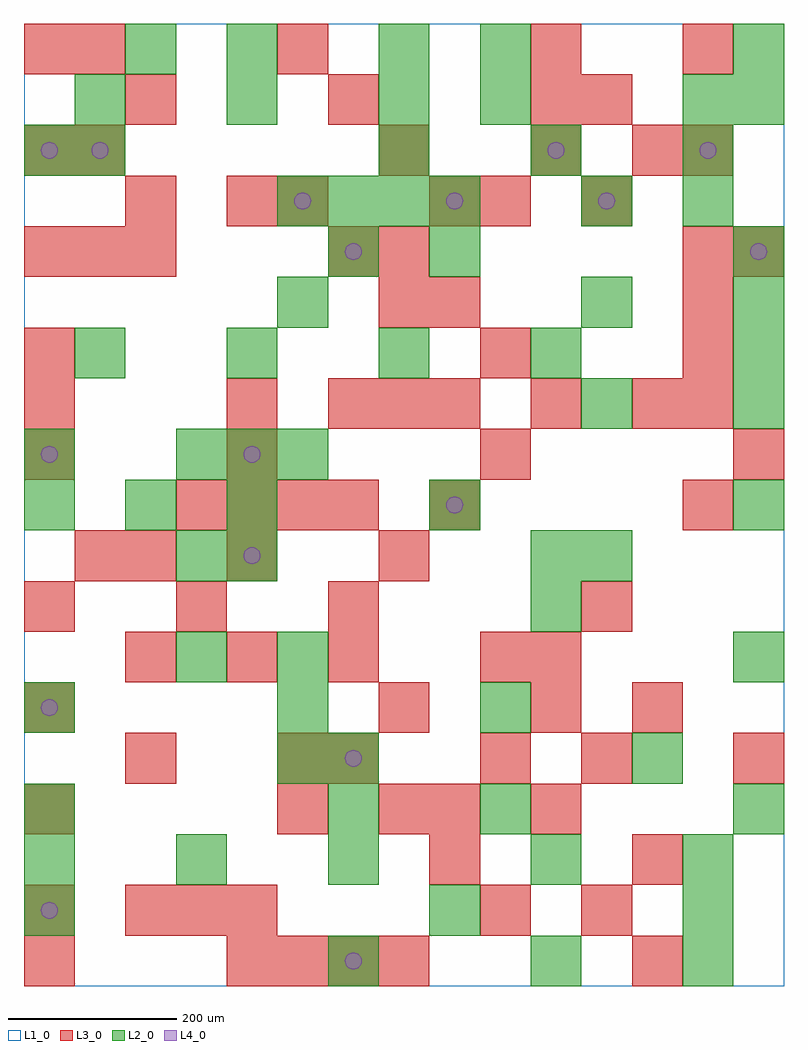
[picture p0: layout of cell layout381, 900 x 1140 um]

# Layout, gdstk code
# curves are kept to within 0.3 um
import gdstk
lib = gdstk.Library(unit=1e-6, precision=1e-09)
def R(c, l, rs):  # rectangles x0, y0, x1, y1
    for r in rs: c.add(gdstk.rectangle(r[:2], r[2:], *l))
def A(c, l, x, y, w, h, nx, ny, dx, dy):  # array of equal rectangles
    R(c, l, [(x+i*dx, y+j*dy, x+i*dx+w, y+j*dy+h) for i in range(nx) for j in range(ny)])
def P(c, l, *ps):  # polygons
    for p in ps: c.add(gdstk.Polygon(p, *l))
L1_0 = (1, 0)
L2_0 = (2, 0)
L3_0 = (3, 0)
L4_0 = (4, 0)

layout381 = lib.new_cell('layout381')
R(layout381, L1_0, [(0,0,900,1140)])
A(layout381, L2_0, 780, 0, 60, 60, 1, 3, 0, 60)
A(layout381, L2_0, 0, 60, 60, 60, 1, 3, 0, 120)
A(layout381, L2_0, 0, 120, 60, 60, 3, 1, 180, 0)
A(layout381, L2_0, 840, 180, 60, 60, 1, 3, 0, 180)
A(layout381, L2_0, 300, 240, 60, 60, 1, 3, 0, 60)
A(layout381, L2_0, 0, 540, 60, 60, 3, 1, 120, 0)
A(layout381, L2_0, 180, 600, 60, 60, 3, 1, 60, 0)
A(layout381, L2_0, 660, 660, 60, 60, 1, 3, 0, 120)
A(layout381, L2_0, 840, 660, 60, 60, 1, 4, 0, 60)
A(layout381, L2_0, 60, 720, 60, 60, 4, 1, 180, 0)
A(layout381, L2_0, 300, 900, 60, 60, 4, 1, 60, 0)
A(layout381, L2_0, 420, 960, 60, 60, 3, 1, 180, 0)
A(layout381, L2_0, 60, 1020, 60, 60, 3, 1, 180, 0)
R(layout381, L2_0, [(360,0,420,60), (600,0,660,60), (480,60,540,120), (600,120,660,180), (360,180,420,240), (540,180,600,240), (360,240,420,300), (720,240,780,300), (540,300,600,360), (180,360,240,420), (600,420,660,480), (180,480,240,540), (240,480,300,540), (600,480,660,540), (660,480,720,540), (480,540,540,600), (0,600,60,660), (300,780,360,840), (360,840,420,900), (480,840,540,900), (780,900,840,960), (0,960,60,1020), (60,960,120,1020), (540,1020,600,1080), (780,1020,840,1080), (840,1020,900,1080), (120,1080,180,1140), (240,1080,300,1140), (420,1080,480,1140), (540,1080,600,1140), (840,1080,900,1140)])
A(layout381, L3_0, 240, 0, 60, 60, 4, 1, 60, 0)
A(layout381, L3_0, 0, 60, 60, 60, 1, 3, 0, 120)
A(layout381, L3_0, 120, 60, 60, 60, 3, 1, 60, 0)
A(layout381, L3_0, 660, 60, 60, 60, 1, 3, 0, 180)
A(layout381, L3_0, 120, 360, 60, 60, 3, 1, 120, 0)
A(layout381, L3_0, 600, 360, 60, 60, 1, 3, 0, 300)
A(layout381, L3_0, 0, 420, 60, 60, 3, 1, 180, 0)
A(layout381, L3_0, 180, 540, 60, 60, 4, 1, 60, 0)
A(layout381, L3_0, 0, 600, 60, 60, 1, 3, 0, 60)
A(layout381, L3_0, 240, 600, 60, 60, 3, 1, 300, 0)
A(layout381, L3_0, 360, 660, 60, 60, 3, 1, 60, 0)
A(layout381, L3_0, 780, 660, 60, 60, 1, 4, 0, 60)
A(layout381, L3_0, 0, 840, 60, 60, 3, 1, 60, 0)
A(layout381, L3_0, 120, 1020, 60, 60, 3, 1, 240, 0)
R(layout381, L3_0, [(0,0,60,60), (720,0,780,60), (540,60,600,120), (480,120,540,180), (720,120,780,180), (300,180,360,240), (420,180,480,240), (480,180,540,240), (600,180,660,240), (120,240,180,300), (300,240,360,300), (360,240,420,300), (540,240,600,300), (840,240,900,300), (420,300,480,360), (600,300,660,360), (720,300,780,360), (540,360,600,420), (60,480,120,540), (120,480,180,540), (240,480,300,540), (420,480,480,540), (480,540,540,600), (780,540,840,600), (240,660,300,720), (720,660,780,720), (540,720,600,780), (420,780,480,840), (480,780,540,840), (360,840,420,900), (420,840,480,900), (840,840,900,900), (120,900,180,960), (240,900,300,960), (300,900,360,960), (480,900,540,960), (540,900,600,960), (660,900,720,960), (0,960,60,1020), (60,960,120,1020), (420,960,480,1020), (720,960,780,1020), (780,960,840,1020), (660,1020,720,1080), (0,1080,60,1140), (60,1080,120,1140), (300,1080,360,1140), (600,1080,660,1140), (780,1080,840,1140)])
P(layout381, L4_0, [(40,90),(39.239,93.827),(37.071,97.071),(33.827,99.239),(30,100),(26.173,99.239),(22.929,97.071),(20.761,93.827),(20,90),(20.761,86.173),(22.929,82.929),(26.173,80.761),(30,80),(33.827,80.761),(37.071,82.929),(39.239,86.173)],
  [(40,330),(39.239,333.827),(37.071,337.071),(33.827,339.239),(30,340),(26.173,339.239),(22.929,337.071),(20.761,333.827),(20,330),(20.761,326.173),(22.929,322.929),(26.173,320.761),(30,320),(33.827,320.761),(37.071,322.929),(39.239,326.173)],
  [(40,630),(39.239,633.827),(37.071,637.071),(33.827,639.239),(30,640),(26.173,639.239),(22.929,637.071),(20.761,633.827),(20,630),(20.761,626.173),(22.929,622.929),(26.173,620.761),(30,620),(33.827,620.761),(37.071,622.929),(39.239,626.173)],
  [(40,990),(39.239,993.827),(37.071,997.071),(33.827,999.239),(30,1000),(26.173,999.239),(22.929,997.071),(20.761,993.827),(20,990),(20.761,986.173),(22.929,982.929),(26.173,980.761),(30,980),(33.827,980.761),(37.071,982.929),(39.239,986.173)],
  [(100,990),(99.239,993.827),(97.071,997.071),(93.827,999.239),(90,1000),(86.173,999.239),(82.929,997.071),(80.761,993.827),(80,990),(80.761,986.173),(82.929,982.929),(86.173,980.761),(90,980),(93.827,980.761),(97.071,982.929),(99.239,986.173)],
  [(280,510),(279.239,513.827),(277.071,517.071),(273.827,519.239),(270,520),(266.173,519.239),(262.929,517.071),(260.761,513.827),(260,510),(260.761,506.173),(262.929,502.929),(266.173,500.761),(270,500),(273.827,500.761),(277.071,502.929),(279.239,506.173)],
  [(280,630),(279.239,633.827),(277.071,637.071),(273.827,639.239),(270,640),(266.173,639.239),(262.929,637.071),(260.761,633.827),(260,630),(260.761,626.173),(262.929,622.929),(266.173,620.761),(270,620),(273.827,620.761),(277.071,622.929),(279.239,626.173)],
  [(340,930),(339.239,933.827),(337.071,937.071),(333.827,939.239),(330,940),(326.173,939.239),(322.929,937.071),(320.761,933.827),(320,930),(320.761,926.173),(322.929,922.929),(326.173,920.761),(330,920),(333.827,920.761),(337.071,922.929),(339.239,926.173)],
  [(400,30),(399.239,33.827),(397.071,37.071),(393.827,39.239),(390,40),(386.173,39.239),(382.929,37.071),(380.761,33.827),(380,30),(380.761,26.173),(382.929,22.929),(386.173,20.761),(390,20),(393.827,20.761),(397.071,22.929),(399.239,26.173)],
  [(400,270),(399.239,273.827),(397.071,277.071),(393.827,279.239),(390,280),(386.173,279.239),(382.929,277.071),(380.761,273.827),(380,270),(380.761,266.173),(382.929,262.929),(386.173,260.761),(390,260),(393.827,260.761),(397.071,262.929),(399.239,266.173)],
  [(400,870),(399.239,873.827),(397.071,877.071),(393.827,879.239),(390,880),(386.173,879.239),(382.929,877.071),(380.761,873.827),(380,870),(380.761,866.173),(382.929,862.929),(386.173,860.761),(390,860),(393.827,860.761),(397.071,862.929),(399.239,866.173)],
  [(520,570),(519.239,573.827),(517.071,577.071),(513.827,579.239),(510,580),(506.173,579.239),(502.929,577.071),(500.761,573.827),(500,570),(500.761,566.173),(502.929,562.929),(506.173,560.761),(510,560),(513.827,560.761),(517.071,562.929),(519.239,566.173)],
  [(520,930),(519.239,933.827),(517.071,937.071),(513.827,939.239),(510,940),(506.173,939.239),(502.929,937.071),(500.761,933.827),(500,930),(500.761,926.173),(502.929,922.929),(506.173,920.761),(510,920),(513.827,920.761),(517.071,922.929),(519.239,926.173)],
  [(640,990),(639.239,993.827),(637.071,997.071),(633.827,999.239),(630,1000),(626.173,999.239),(622.929,997.071),(620.761,993.827),(620,990),(620.761,986.173),(622.929,982.929),(626.173,980.761),(630,980),(633.827,980.761),(637.071,982.929),(639.239,986.173)],
  [(700,930),(699.239,933.827),(697.071,937.071),(693.827,939.239),(690,940),(686.173,939.239),(682.929,937.071),(680.761,933.827),(680,930),(680.761,926.173),(682.929,922.929),(686.173,920.761),(690,920),(693.827,920.761),(697.071,922.929),(699.239,926.173)],
  [(820,990),(819.239,993.827),(817.071,997.071),(813.827,999.239),(810,1000),(806.173,999.239),(802.929,997.071),(800.761,993.827),(800,990),(800.761,986.173),(802.929,982.929),(806.173,980.761),(810,980),(813.827,980.761),(817.071,982.929),(819.239,986.173)],
  [(880,870),(879.239,873.827),(877.071,877.071),(873.827,879.239),(870,880),(866.173,879.239),(862.929,877.071),(860.761,873.827),(860,870),(860.761,866.173),(862.929,862.929),(866.173,860.761),(870,860),(873.827,860.761),(877.071,862.929),(879.239,866.173)])

lib.write_gds('layout381.gds')
